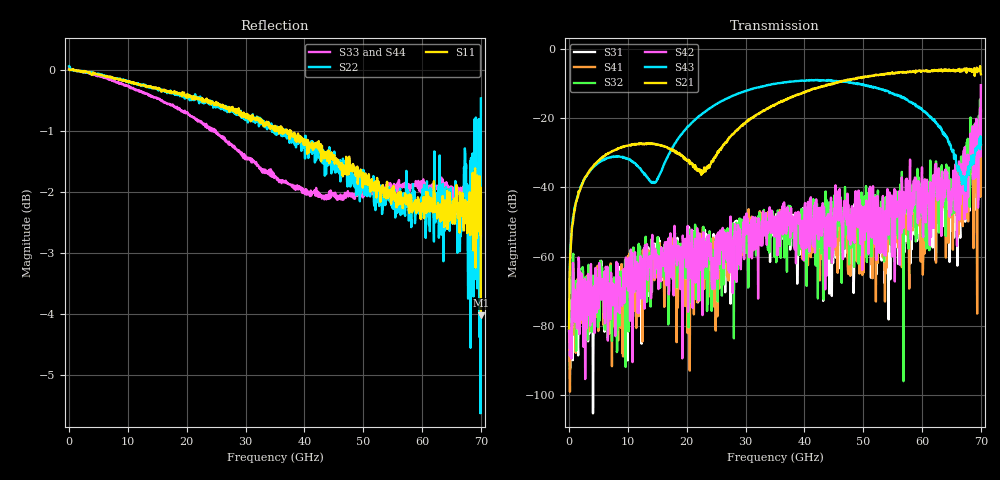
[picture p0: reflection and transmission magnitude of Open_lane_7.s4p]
! 4/13/2026 10:51:35 AM
! C:\ANRITSUVNA\DATA\SARA\2026-04-13 T5 MZDRV\DEEMB STRUCTURES\OPEN_0.S4P
! CHANNEL.1
! TR.MEASUREMENT
! CORRECTED.DATA
! RF.CORRECTION: FULL.FOUR.PORT.CAL.PORT.1.2.3.4
! AVERAGING.OFF
! IF.BANDWIDTH: 1KHZ
! SWEEPTYPE:  FREQ.SWEEP(Linear)
! Reference Plane Port Info
! PORT:  PORT1  PORT2  PORT3  PORT4
! DISTANCE:  0  m  0  m  0  m  0  m
! TIME:  0  s  0  s  0  s  0  s
! PHASE.OFFSET:  0 °  0 °  0 °  0 °
! LOSS:  0  dB  0  dB  0  dB  0  dB
! REF.LOSS:  0  dB  0  dB  0  dB  0  dB
! REF.FREQ:  0  Hz  0  Hz  0  Hz  0  Hz
! Power Info
! POWER:  -20  dBm  -20  dBm  -20  dBm  -20  dBm
! EFF.POWER:  -20  dBm  -20  dBm  -20  dBm  -20  dBm
! SOURCE.ATTEN:  0  dB  0  dB  0  dB  0  dB
! TEST.ATTEN:  0  dB  0  dB  0  dB  0  dB
# HZ S DB R 50.0
! FREQ.HZ  S11DB  S11A  S12DB  S12A  S13DB  S13A  S14DB  S14A
!  S21DB  S21A  S22DB  S22A  S23DB  S23A  S24DB  S24A
!  S31DB  S31A  S32DB  S32A  S33DB  S33A  S34DB  S34A
!  S41DB  S41A  S42DB  S42A  S43DB  S43A  S44DB  S44A
!; PortSelection: Port_1234
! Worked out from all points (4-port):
!   1001 points, 10 MHz to 70 GHz, reference 50 ohm
!   strongest paths, dB at 10 MHz, 17.51 GHz, 35.01 GHz, 52.5 GHz, 70 GHz:
!     S21: -80.6, -29.2, -16.0, -7.5, -7.3
!     S43: -78.9, -28.7, -10.1, -11.3, -27.5
!     S42: -81.3, -60.5, -51.7, -44.0, -10.5
!     S32: -81.4, -61.3, -54.1, -40.9, -17.8
!     S41: -81.1, -55.4, -50.6, -46.1, -17.8
!     S31: -80.8, -55.0, -51.9, -54.6, -27.8
!   lowest |S11| = -4.0 dB at 70 GHz (marker M1), VSWR 4.39, Z = 11.9 + j10.1 ohm
!   |S11| at or under -10 dB: nowhere
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1e7  0.01 -0.0  -84.15 92.2  -78.44 -125.9  -95.46 24.3
     -80.64 126.4  0.06 0.0  -82.48 -111.7  -83.76 -138.2
     -80.79 123.2  -81.43 102.6  0.03 0.0  -78.66 97.5
     -81.08 29.3  -81.35 78.0  -78.87 -176.1  0.01 -0.0
1.12984e9  -0.00 -3.2  -44.53 87.0  -79.57 -38.7  -74.09 46.9
           -44.62 87.5  -0.01 -3.1  -93.57 -133.4  -78.38 91.0
           -86.48 -153.0  -73.80 -128.9  -0.01 -5.0  -44.62 86.3
           -87.71 109.6  -75.08 22.3  -44.63 86.0  -0.01 -5.0
4.62934e9  -0.07 -12.5  -32.91 80.2  -87.87 -51.7  -72.03 -8.5
           -33.03 80.3  -0.07 -12.4  -81.84 45.5  -80.01 -39.1
           -71.98 -146.2  -75.93 -27.0  -0.09 -20.1  -33.34 73.3
           -77.39 119.4  -71.94 162.1  -33.30 72.9  -0.07 -20.1
2.891587e10  -0.70 -77.8  -22.69 168.8  -60.04 166.7  -56.16 180.0
             -22.86 167.8  -0.68 -77.0  -56.89 -171.7  -64.92 -163.9
             -53.64 151.1  -50.99 131.0  -1.32 -129.2  -12.78 132.1
             -52.05 -167.3  -54.02 -154.8  -12.75 132.0  -1.15 -129.1
5.411227e10  -1.95 -151.0  -7.00 117.4  -55.46 28.4  -59.04 -0.6
             -6.98 118.0  -1.95 -149.1  -57.16 -17.3  -53.58 59.0
             -52.93 154.3  -54.81 -18.9  -1.99 121.1  -12.19 37.0
             -58.65 -99.3  -40.47 84.5  -12.17 36.7  -1.92 120.5
6.622054e10  -2.24 176.1  -6.40 92.9  -49.09 146.9  -54.45 137.1
             -6.13 94.8  -2.85 179.7  -48.93 -121.2  -50.45 -170.4
             -44.25 -52.4  -36.09 -69.8  -2.04 73.0  -35.50 45.6
             -53.48 -169.8  -39.33 -91.8  -33.90 36.4  -1.88 73.4
7e10  -4.03 155.8  -9.78 110.5  -43.75 79.9  -33.94 -132.1
      -7.30 124.6  -0.47 -79.0  -47.81 -113.9  -29.08 -30.6
      -27.77 -105.1  -17.84 -53.8  -2.73 48.6  -29.20 138.6
      -17.75 -36.8  -10.47 40.9  -27.52 147.6  -0.96 53.5
